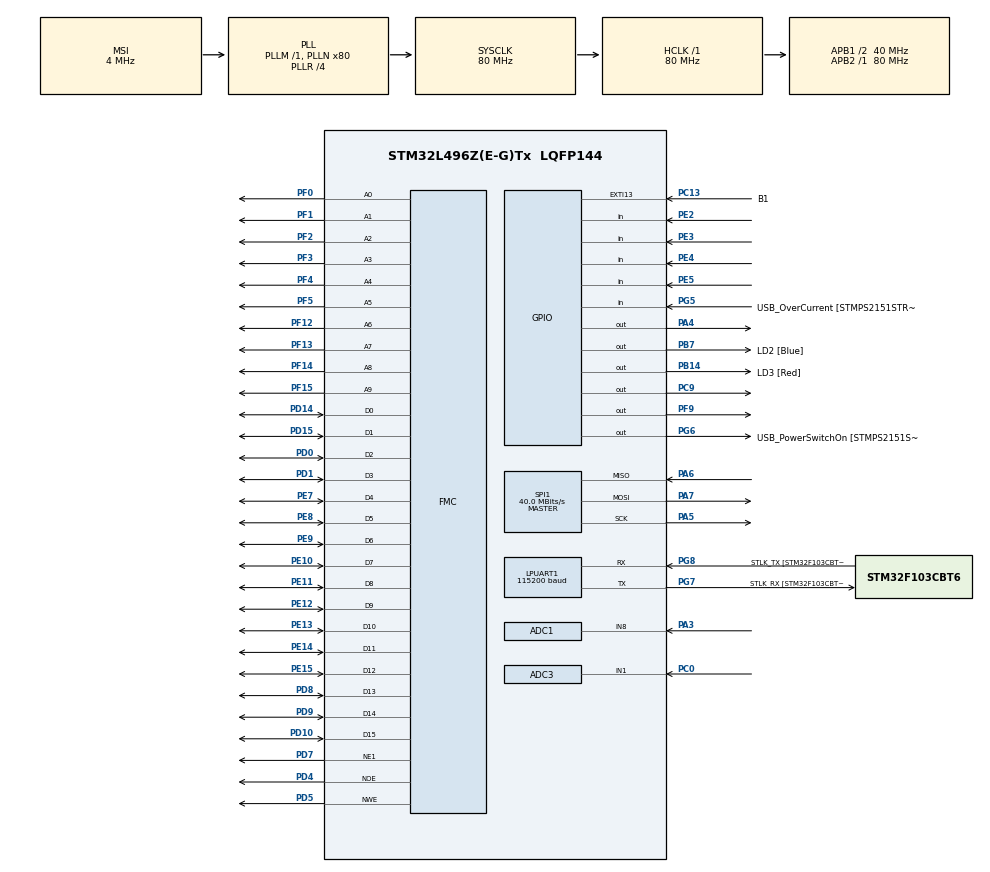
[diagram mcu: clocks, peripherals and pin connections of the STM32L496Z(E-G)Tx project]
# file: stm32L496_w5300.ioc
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ADC1.Channel-0\#ChannelRegularConversion=ADC_CHANNEL_8
ADC1.NbrOfConversionFlag=1
ADC1.OffsetNumber-0\#ChannelRegularConversion=ADC_OFFSET_NONE
ADC1.Rank-0\#ChannelRegularConversion=1
ADC1.Resolution=ADC_RESOLUTION_12B
ADC1.SamplingTime-0\#ChannelRegularConversion=ADC_SAMPLETIME_2CYCLES_5
ADC1.master=1
ADC3.Channel-0\#ChannelRegularConversion=ADC_CHANNEL_1
ADC3.NbrOfConversionFlag=1
ADC3.OffsetNumber-0\#ChannelRegularConversion=ADC_OFFSET_NONE
ADC3.Rank-0\#ChannelRegularConversion=1
ADC3.SamplingTime-0\#ChannelRegularConversion=ADC_SAMPLETIME_2CYCLES_5
FATFS._MAX_SS=4096
FMC.WriteOperation1=FMC_WRITE_OPERATION_ENABLE
LPUART1.BaudRate=115200
LPUART1.WordLength=UART_WORDLENGTH_8B
Mcu.Family=STM32L4
Mcu.Name=STM32L496Z(E-G)Tx
Mcu.Package=LQFP144
NVIC.LPUART1_IRQn=true\:0\:0\:false\:false\:true\:true\:true\:true
NVIC.PriorityGroup=NVIC_PRIORITYGROUP_4
PA13\ (JTMS/SWDIO).GPIO_Label=TMS
PA13\ (JTMS/SWDIO).Mode=Trace_Asynchronous_SW
PA13\ (JTMS/SWDIO).Signal=SYS_JTMS-SWDIO
PA14\ (JTCK/SWCLK).GPIO_Label=TCK
PA14\ (JTCK/SWCLK).Mode=Trace_Asynchronous_SW
PA14\ (JTCK/SWCLK).Signal=SYS_JTCK-SWCLK
PA3.Signal=ADCx_IN8
PA4.Signal=GPIO_Output
PA5.Mode=Full_Duplex_Master
PA5.Signal=SPI1_SCK
PA6.Mode=Full_Duplex_Master
PA6.Signal=SPI1_MISO
PA7.Mode=Full_Duplex_Master
PA7.Signal=SPI1_MOSI
PB14.GPIO_Label=LD3 [Red]
PB14.Signal=GPIO_Output
PB3\ (JTDO/TRACESWO).GPIO_Label=SWO
PB3\ (JTDO/TRACESWO).Mode=Trace_Asynchronous_SW
PB3\ (JTDO/TRACESWO).Signal=SYS_JTDO-SWO
PB7.GPIO_Label=LD2 [Blue]
PB7.Signal=GPIO_Output
PC0.Signal=ADCx_IN1
PC13.GPIO_Label=B1
PC13.Signal=GPXTI13
PC14-OSC32_IN\ (PC14).Mode=LSE-External-Oscillator
PC14-OSC32_IN\ (PC14).Signal=RCC_OSC32_IN
PC15-OSC32_OUT\ (PC15).Mode=LSE-External-Oscillator
PC15-OSC32_OUT\ (PC15).Signal=RCC_OSC32_OUT
PC9.Signal=GPIO_Output
PD0.Signal=FMC_D2_DA2
PD1.Signal=FMC_D3_DA3
PD10.Signal=FMC_D15_DA15
PD14.Signal=FMC_D0_DA0
PD15.Signal=FMC_D1_DA1
PD4.Signal=FMC_NOE
PD5.Signal=FMC_NWE
PD7.Mode=NorPsramChipSelect1_1
PD7.Signal=FMC_NE1
PD8.Signal=FMC_D13_DA13
PD9.Signal=FMC_D14_DA14
PE10.Signal=FMC_D7_DA7
PE11.Signal=FMC_D8_DA8
PE12.Signal=FMC_D9_DA9
PE13.Signal=FMC_D10_DA10
PE14.Signal=FMC_D11_DA11
PE15.Signal=FMC_D12_DA12
PE2.Signal=GPIO_Input
PE3.Signal=GPIO_Input
PE4.Signal=GPIO_Input
PE5.Signal=GPIO_Input
PE7.Signal=FMC_D4_DA4
PE8.Signal=FMC_D5_DA5
PE9.Signal=FMC_D6_DA6
PF0.Signal=FMC_A0
PF1.Signal=FMC_A1
PF12.Signal=FMC_A6
PF13.Signal=FMC_A7
PF14.Signal=FMC_A8
PF15.Signal=FMC_A9
PF2.Signal=FMC_A2
PF3.Signal=FMC_A3
PF4.Signal=FMC_A4
PF5.Signal=FMC_A5
PF9.Signal=GPIO_Output
PG5.GPIO_Label=USB_OverCurrent [STMPS2151STR_FAULT]
PG5.Signal=GPIO_Input
PG6.GPIO_Label=USB_PowerSwitchOn [STMPS2151STR_EN]
PG6.Signal=GPIO_Output
PG7.GPIO_Label=STLK_RX [STM32F103CBT6_PA3]
PG7.Mode=Asynchronous
PG7.Signal=LPUART1_TX
PG8.GPIO_Label=STLK_TX [STM32F103CBT6_PA2]
PG8.Mode=Asynchronous
PG8.Signal=LPUART1_RX
PH1-OSC_OUT\ (PH1).Signal=RCC_OSC_OUT
ProjectManager.HeapSize=0x200
ProjectManager.StackSize=0x400
ProjectManager.TargetToolchain=STM32CubeIDE
RCC.48MHZClocksFreq_Value=24000000
RCC.ADCFreq_Value=48000000
RCC.AHBFreq_Value=80000000
RCC.APB1CLKDivider=RCC_HCLK_DIV2
RCC.APB1Freq_Value=40000000
RCC.APB1TimFreq_Value=80000000
RCC.APB2Freq_Value=80000000
RCC.APB2TimFreq_Value=80000000
RCC.CortexFreq_Value=80000000
RCC.HCLKFreq_Value=80000000
RCC.HSE_VALUE=8000000
RCC.HSI48_VALUE=48000000
RCC.HSI_VALUE=16000000
RCC.MSI_VALUE=4000000
RCC.PLLMUL=RCC_PLL_MUL9
RCC.PLLN=80
RCC.PLLR=RCC_PLLR_DIV4
RCC.PLLSAI1N=24
RCC.PRESCALERUSB=RCC_USBCLKSOURCE_PLL_DIV1_5
RCC.SYSCLKFreq_VALUE=80000000
RCC.SYSCLKSource=RCC_SYSCLKSOURCE_PLLCLK
RCC.SYSCLKSourceVirtual=RCC_SYSCLKSOURCE_PLLCLK
RCC.USBFreq_Value=48000000
RCC.VCOOutputFreq_Value=320000000
SH.ADCx_IN1.0=ADC1_IN1
SH.ADCx_IN1.1=ADC3_IN1,IN1-Single-Ended
SH.ADCx_IN8.0=ADC1_IN8,IN8-Single-Ended
SH.FMC_A0.0=FMC_A0,10b-a1
SH.FMC_A1.0=FMC_A1,10b-a1
SH.FMC_A2.0=FMC_A2,10b-a1
SH.FMC_A3.0=FMC_A3,10b-a1
SH.FMC_A4.0=FMC_A4,10b-a1
SH.FMC_A5.0=FMC_A5,10b-a1
SH.FMC_A6.0=FMC_A6,10b-a1
SH.FMC_A7.0=FMC_A7,10b-a1
SH.FMC_A8.0=FMC_A8,10b-a1
SH.FMC_A9.0=FMC_A9,10b-a1
SH.FMC_D0_DA0.0=FMC_D0,16b-d1
SH.FMC_D10_DA10.0=FMC_D10,16b-d1
SH.FMC_D11_DA11.0=FMC_D11,16b-d1
SH.FMC_D12_DA12.0=FMC_D12,16b-d1
SH.FMC_D13_DA13.0=FMC_D13,16b-d1
SH.FMC_D14_DA14.0=FMC_D14,16b-d1
SH.FMC_D15_DA15.0=FMC_D15,16b-d1
SH.FMC_D1_DA1.0=FMC_D1,16b-d1
SH.FMC_D2_DA2.0=FMC_D2,16b-d1
SH.FMC_D3_DA3.0=FMC_D3,16b-d1
SH.FMC_D4_DA4.0=FMC_D4,16b-d1
SH.FMC_D5_DA5.0=FMC_D5,16b-d1
SH.FMC_D6_DA6.0=FMC_D6,16b-d1
SH.FMC_D7_DA7.0=FMC_D7,16b-d1
SH.FMC_D8_DA8.0=FMC_D8,16b-d1
SH.FMC_D9_DA9.0=FMC_D9,16b-d1
SH.FMC_NOE.0=FMC_NOE,Sram1
SH.FMC_NWE.0=FMC_NWE,Sram1
SPI1.CalculateBaudRate=40.0 MBits/s
SPI1.Direction=SPI_DIRECTION_2LINES
SPI1.Mode=SPI_MODE_MASTER
SPI1.VirtualType=VM_MASTER
VP_FATFS_VS_Generic.Mode=User_defined
VP_RTC_VS_RTC_Activate.Mode=RTC_Enabled
board=NUCLEO-L496ZG

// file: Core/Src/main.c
/* USER CODE BEGIN Header */
/**
  ******************************************************************************
  * @file           : main.c
  * @brief          : Main program body
  ******************************************************************************
  * @attention
  *
  * Copyright (c) 2023 STMicroelectronics.
  * All rights reserved.
  *
  * This software is licensed under terms that can be found in the LICENSE file
  * in the root directory of this software component.
  * If no LICENSE file comes with this software, it is provided AS-IS.
  *
  ******************************************************************************
  */
/* USER CODE END Header */
#include "main.h"
#include "fatfs.h"

/* USER CODE BEGIN Includes */
#include "stdio.h"
#include "socket.h"
#include "wizchip_conf.h"
#include "w5300.h"
#include "ftpd.h"
#include "fatfs_sd.h"
#include "skp_sdcard.h"

#include "ff.h"
#include "general_sdcard.h"

#include "httpServer.h"
#include "webpage.h"

/* USER CODE END Includes */

/* USER CODE BEGIN PTD */
#define DATA_BUF_SIZE   1024
#define _USE_W5300_OPTIMIZE				1

#define W5300_BANK_ADDR                 ((uint32_t)0x60000000)//((uint32_t)0x64000000)
#define _W5300_DATA(p)                  *(__IO uint16_t *)(W5300_BANK_ADDR + (p<<1))//(*(volatile unsigned short*) (W5300_BANK_ADDR + (p<<1)))

#define RESET_W5300_GPIO_Port			GPIOC
#define RESET_W5300_Pin					GPIO_PIN_9

#define true					1
#define false					0

#define SOCK_TCPS       0
#define SOCK_UDPS       1
#define PORT_TCPS		5000
#define PORT_UDPS       3000

#define HSPI_SDCARD		 	&hspi1
#define	SD_CS_PORT			GPIOA
#define SD_CS_PIN			GPIO_PIN_4

#define MAX_HTTPSOCK	6

/* USER CODE END PTD */

/* USER CODE BEGIN PM */
typedef enum
{
	NotUsed	= 0,
	Input	= 1,
	Output	= 2
} IO_Direction_Type;
// Data IO Status
typedef enum
{
	Off	= 0,
	On 	= 1
} IO_Status_Type;
/* USER CODE END PM */

ADC_HandleTypeDef hadc1;
ADC_HandleTypeDef hadc3;

UART_HandleTypeDef hlpuart1;

RTC_HandleTypeDef hrtc;

SPI_HandleTypeDef hspi1;

SRAM_HandleTypeDef hsram1;

/* USER CODE BEGIN PV */
//uint8_t gDATABUF[DATA_BUF_SIZE];
uint8_t gFTPBUF[_MAX_SS];
uint8_t wiznet_memsize[2][8] = {{8,8,8,8,8,8,8,8}, {8,8,8,8,8,8,8,8}};

#define ETH_MAX_BUF_SIZE		2048

uint8_t ethBuf0[ETH_MAX_BUF_SIZE];

wiz_NetInfo gWIZNETINFO = {
		.mac = {0x00, 0x08, 0xdc, 0x11, 0x22, 0x33},
		.ip = {192, 168, 15, 111},
		.sn = {255, 255, 255, 0},
		.gw = {192, 168, 15, 1},
		.dns = {8, 8, 8, 8},
		.dhcp = NETINFO_STATIC
};
uint32_t raw1;
  uint32_t raw2;

/* USER CODE END PV */

void SystemClock_Config(void);
void PeriphCommonClock_Config(void);
static void MX_GPIO_Init(void);
static void MX_LPUART1_UART_Init(void);
static void MX_FMC_Init(void);
static void MX_RTC_Init(void);
static void MX_SPI1_Init(void);
static void MX_ADC1_Init(void);
static void MX_ADC3_Init(void);
/* USER CODE BEGIN PFP */
uint8_t rxData[2];
void make_json_dio(uint8_t * buf, uint16_t * len, uint8_t pin);
void make_json_ain(uint8_t * buf, uint16_t * len, uint8_t pin);
void make_json_netinfo(uint8_t * buf, uint16_t * len);

int _write(int fd, char *str, int len)
{
	for(int i=0; i<len; i++)
	{
		HAL_UART_Transmit(&hlpuart1, (uint8_t *)&str[i], 1, 0xFFFF);
	}
	return len;
}

void HAL_UART_RxCpltCallback(UART_HandleTypeDef *huart) {

    /*
        This will be called once data is received successfully,
        via interrupts.
    */

     /*
       loop back received data
     */
     HAL_UART_Receive_IT(&hlpuart1, rxData, 1);
     HAL_UART_Transmit(&hlpuart1, rxData, 1, 1000);
}
void Reset_W5300()
{
	HAL_GPIO_WritePin(RESET_W5300_GPIO_Port, RESET_W5300_Pin, GPIO_PIN_RESET);
	HAL_Delay(50);
	HAL_GPIO_WritePin(RESET_W5300_GPIO_Port, RESET_W5300_Pin, GPIO_PIN_SET);
	HAL_Delay(500);
}

void W5300_write(uint32_t addr, iodata_t wd)
{
	_W5300_DATA(addr) = wd;
}

iodata_t W5300_read(uint32_t addr)
{
	return _W5300_DATA(addr);
}
void W5300CsEnable(void)
{

}
void W5300CsDisable(void)
{

}
void print_network_information(void)
{
    wizchip_getnetinfo(&gWIZNETINFO);
    printf("Mac address: %02x:%02x:%02x:%02x:%02x:%02x\n\r",gWIZNETINFO.mac[0],gWIZNETINFO.mac[1],gWIZNETINFO.mac[2],gWIZNETINFO.mac[3],gWIZNETINFO.mac[4],gWIZNETINFO.mac[5]);
    printf("IP address : %d.%d.%d.%d\n\r",gWIZNETINFO.ip[0],gWIZNETINFO.ip[1],gWIZNETINFO.ip[2],gWIZNETINFO.ip[3]);
    printf("SM Mask    : %d.%d.%d.%d\n\r",gWIZNETINFO.sn[0],gWIZNETINFO.sn[1],gWIZNETINFO.sn[2],gWIZNETINFO.sn[3]);
    printf("Gate way   : %d.%d.%d.%d\n\r",gWIZNETINFO.gw[0],gWIZNETINFO.gw[1],gWIZNETINFO.gw[2],gWIZNETINFO.gw[3]);
    printf("DNS Server : %d.%d.%d.%d\n\r",gWIZNETINFO.dns[0],gWIZNETINFO.dns[1],gWIZNETINFO.dns[2],gWIZNETINFO.dns[3]);
}

void make_json_dio(uint8_t * buf, uint16_t * len, uint8_t pin)
{
	//uint8_t pin_state 	= Chip_GPIO_GetPinState(LPC_GPIO, dio_ports[pin], dio_pins[pin]);
	//uint8_t pin_dir 	= Chip_GPIO_GetPinDIR(LPC_GPIO, dio_ports[pin], dio_pins[pin]);

	*len = sprintf((char *)buf, "DioCallback({\"dio_p\":\"%d\",\
											\"dio_s\":\"%d\",\
											\"dio_d\":\"%d\"\
											});",
											1,					// Digital io pin number
											2,				// Digital io status
											3					// Digital io directions
											);
}

void make_json_ain(uint8_t * buf, uint16_t * len, uint8_t pin)
{
	*len = sprintf((char *)buf, "AinCallback({\"ain_p\":\"%d\",\
											\"ain_v\":\"%d\"\
											});",
											0,					// ADC input pin number
											raw1//get_ADC_val(pin)		// ADC input value
											);
}

void make_json_netinfo(uint8_t * buf, uint16_t * len)
{
	wiz_NetInfo netinfo;
	ctlnetwork(CN_GET_NETINFO, (void*) &netinfo);

	// DHCP: 1 - Static, 2 - DHCP
	*len = sprintf((char *)buf, "NetinfoCallback({\"mac\":\"%.2X:%.2X:%.2X:%.2X:%.2X:%.2X\",\
											\"ip\":\"%d.%d.%d.%d\",\
											\"gw\":\"%d.%d.%d.%d\",\
											\"sn\":\"%d.%d.%d.%d\",\
											\"dns\":\"%d.%d.%d.%d\",\
											\"dhcp\":\"%d\"\
											});",
											netinfo.mac[0], netinfo.mac[1], netinfo.mac[2], netinfo.mac[3], netinfo.mac[4], netinfo.mac[5],
											netinfo.ip[0], netinfo.ip[1], netinfo.ip[2], netinfo.ip[3],
											netinfo.gw[0], netinfo.gw[1], netinfo.gw[2], netinfo.gw[3],
											netinfo.sn[0], netinfo.sn[1], netinfo.sn[2], netinfo.sn[3],
											netinfo.dns[0], netinfo.dns[1], netinfo.dns[2], netinfo.dns[3],
											netinfo.dhcp
											);
}

uint8_t predefined_get_cgi_processor(uint8_t * uri_name, uint8_t * buf, uint16_t * len)
{
	uint8_t ret = 1;	// ret = 1 means 'uri_name' matched
	uint8_t cgibuf[14] = {0, };
	int8_t cgi_dio = -1;
	int8_t cgi_ain = -1;

	uint8_t i;

	if(strcmp((const char *)uri_name, "todo.cgi") == 0)
	{
		// to do
		;//make_json_todo(buf, len);
	}
	else if(strcmp((const char *)uri_name, "get_netinfo.cgi") == 0)
	{
		make_json_netinfo(buf, len);
	}
	else
	{
		// get_dio0.cgi ~ get_dio15.cgi
#if 1
		//for(i = 0; i < DIOn; i++)
		for(i = 0; i < 16; i++)
		{
			memset(cgibuf, 0x00, 14);
			sprintf((char *)cgibuf, "get_dio%d.cgi", i);
			if(strcmp((const char *)uri_name, (const char *)cgibuf) == 0)
			{
				make_json_dio(buf, len, i);
				cgi_dio = i;
				break;
			}
		}
#endif
		if(cgi_dio < 0)
		{
			// get_ain0.cgi ~ get_ain5.cgi (A0 - A5), get_ain6.cgi for on-board potentiometer / Temp.Sensor
			for(i = 0; i < 7; i++)
			{
				memset(cgibuf, 0x00, 14);
				sprintf((char *)cgibuf, "get_ain%d.cgi", i);
				if(strcmp((const char *)uri_name, (const char *)cgibuf) == 0)
				{
					make_json_ain(buf, len, i);
					cgi_ain = i;
					break;
				}
			}
		}

		if((cgi_dio < 0) && (cgi_ain < 0)) ret = 0;
	}

	return ret;
}
#if 1
int8_t set_diodir(uint8_t * uri)
{
	uint8_t * param;
	uint8_t pin = 9, val = 0;
	GPIO_InitTypeDef GPIO_InitStruct = {0};

	if((param = get_http_param_value((char *)uri, "pin"))) // GPIO; D0 ~ D15
	{
		pin = (uint8_t)ATOI(param, 10);
		if(pin > 15) return -1;

		if((param = get_http_param_value((char *)uri, "val")))  // Direction; NotUsed/Input/Output
		{
			val = (uint8_t)ATOI(param, 10);
			if(val > Output) val = Output;
		}
	}

	if(val == Input)
	{
		GPIO_InitStruct.Pin = GPIO_PIN_9;
		GPIO_InitStruct.Mode = GPIO_MODE_INPUT;
		GPIO_InitStruct.Pull = GPIO_NOPULL;
		HAL_GPIO_Init(GPIOF, &GPIO_InitStruct);
	//Chip_GPIO_SetPinDIRInput(LPC_GPIO, dio_ports[pin], dio_pins[pin]);	// Input
	}
	else
	{
		GPIO_InitStruct.Pin = GPIO_PIN_9;
		GPIO_InitStruct.Mode = GPIO_MODE_OUTPUT_PP;
		GPIO_InitStruct.Pull = GPIO_NOPULL;
		HAL_GPIO_Init(GPIOF, &GPIO_InitStruct);
	//Chip_GPIO_SetPinDIROutput(LPC_GPIO, dio_ports[pin], dio_pins[pin]); // Output
	}

	return pin;
}

int8_t set_diostate(uint8_t * uri)
{
	uint8_t * param;
	uint8_t pin = 0, val = 0;
	GPIO_InitTypeDef GPIO_InitStruct = {0};

	if((param = get_http_param_value((char *)uri, "pin"))) // GPIO; D0 ~ D15
	{
		pin = (uint8_t)ATOI(param, 10);
		if(pin > 15) return -1;

		if((param = get_http_param_value((char *)uri, "val")))  // State; high(on)/low(off)
		{
			val = (uint8_t)ATOI(param, 10);
			if(val > On) val = On;
		}
		printf("[DEBUG]set_diostatue pin= %d, val = %d\r\n", pin, val);
		if(val == On)
		{
			if(pin == 8 )	// LED RED PB14
			{
				HAL_GPIO_WritePin(GPIOB, GPIO_PIN_14, GPIO_PIN_SET);
			}
			else if(pin == 10) //LED BLUE PB4
			{
				HAL_GPIO_WritePin(GPIOB, GPIO_PIN_4, GPIO_PIN_SET);
			}
			else if(pin == 0)
			{
				HAL_GPIO_WritePin(GPIOF, GPIO_PIN_9, GPIO_PIN_SET);
			}

		//Chip_GPIO_SetPinState(LPC_GPIO, dio_ports[pin], dio_pins[pin], true); 	// High
		}
		else
		{
			if(pin == 8 )	// LED RED PB14
			{
				HAL_GPIO_WritePin(GPIOB, GPIO_PIN_14, GPIO_PIN_RESET);
			}
			else if(pin == 10) //LED BLUE PB4
			{
				HAL_GPIO_WritePin(GPIOB, GPIO_PIN_4, GPIO_PIN_RESET);
			}
			else if(pin == 0)
			{
				HAL_GPIO_WritePin(GPIOF, GPIO_PIN_9, GPIO_PIN_RESET);
			}
		//Chip_GPIO_SetPinState(LPC_GPIO, dio_ports[pin], dio_pins[pin], false);	// Low
		}
	}

	return pin;
}
#endif
uint8_t predefined_set_cgi_processor(uint8_t * uri_name, uint8_t * uri, uint8_t * buf, uint16_t * len)
{
	uint8_t ret = 1;	// ret = '1' means 'uri_name' matched
	uint8_t val = 0;

	if(strcmp((const char *)uri_name, "todo.cgi") == 0)
	{
		// to do
		;//val = todo(uri);
		//*len = sprintf((char *)buf, "%d", val);
	}
	// Digital I/O; dio_s, dio_d
	else if(strcmp((const char *)uri_name, "set_diodir.cgi") == 0)
	{
		//val = set_diodir(uri);
		val = 0;
		*len = sprintf((char *)buf, "%d", val);
	}
	else if(strcmp((const char *)uri_name, "set_diostate.cgi") == 0)
	{
		//val = set_diostate(uri);
		val = 0;
		*len = sprintf((char *)buf, "%d", val);
	}
	else
	{
		ret = 0;
	}

	return ret;
}

void _InitW5300(void)
{
	unsigned int tmpaddr[4];

	Reset_W5300();
	reg_wizchip_bus_cbfunc(W5300_read, W5300_write);
	reg_wizchip_cs_cbfunc(W5300CsEnable, W5300CsDisable);
	printf("getMR() = %04X\r\n", getMR());

	if (ctlwizchip(CW_INIT_WIZCHIP, (void*)wiznet_memsize) == -1)
	{
		printf("W5300 memory initialization failed\r\n");
	}

	ctlnetwork(CN_SET_NETINFO, (void *)&gWIZNETINFO);
	print_network_information();
}

int test_SD_Card(void)
{
  FATFS fs;
	FILINFO finfo;
  mountSD(&fs);

  printf("----------------------------------------------\r\n");
  printf("	 SPI SD Card INFO File Read/Write Test \r\n");
  printf("----------------------------------------------\r\n");

  char filename[] = "test.txt";
  char testbuffer[] = "test 1234567890 -> result\r\ntest";
  char *readbuffer = NULL;
  int result = existFile(filename, &finfo);
  if(result != FR_OK){
		printf("Do not Exist[%s][%d].\r\n", filename, result);
		if(writeInfoToSD(filename, testbuffer) == false)
    {
      printf(" file Write Fail \r\n");
      return -1;
    }

    if(readInfoFromSD(filename, &readbuffer) == false)
    {
      printf(" file Read Fail \r\n");
      return -2;
    }
    if(readbuffer == NULL)
      printf("read Error \r\n");
    else
    {
      printf("read : %s\r\n", readbuffer);
      free(readbuffer);
    }
	}
	else{
		printf("Do Exist[%s].\r\n", filename);
		if(readInfoFromSD(filename, &readbuffer) == false)
    {
      printf(" file Read Fail \r\n");
      return -2;
    }
    if(readbuffer == NULL)
      printf("read Error \r\n");
    else
    {
      printf("read : %s\r\n", readbuffer);
      free(readbuffer);
    }

	}
  return 0;
}
int test_SD_Card1(void)
{
  FATFS fs;
  FATFS *pfs;
  FIL fil;
  FRESULT fres;
  DWORD fre_clust;
  uint32_t totalSpace, freeSpace;
  char buffer[100];
  HAL_Delay(500);
  /* Mount SD Card */
	if(f_mount(&fs, "", 0) != FR_OK)
		printf("ERROR f:%s, L:%d\r\n", __FILE__, __LINE__);

	/* Open file to write */
	if(f_open(&fil, "first.txt", FA_OPEN_ALWAYS | FA_READ | FA_WRITE) != FR_OK)
		printf("ERROR f:%s, L:%d\r\n", __FILE__, __LINE__);

	/* Check freeSpace space */
	if(f_getfree("", &fre_clust, &pfs) != FR_OK)
		printf("ERROR f:%s, L:%d\r\n", __FILE__, __LINE__);

	totalSpace = (uint32_t)((pfs->n_fatent - 2) * pfs->csize * 0.5);
	freeSpace = (uint32_t)(fre_clust * pfs->csize * 0.5);

	/* free space is less than 1kb */
	if(freeSpace < 1)
		printf("ERROR f:%s, L:%d\r\n", __FILE__, __LINE__);

	/* Writing text */
	f_puts("STM32 SD Card I/O Example via SPI\n", &fil);
	f_puts("Save the world!!!", &fil);

	/* Close file */
	if(f_close(&fil) != FR_OK)
		printf("ERROR f:%s, L:%d\r\n", __FILE__, __LINE__);

	/* Open file to read */
	if(f_open(&fil, "first.txt", FA_READ) != FR_OK)
		printf("ERROR f:%s, L:%d\r\n", __FILE__, __LINE__);

	while(f_gets(buffer, sizeof(buffer), &fil))
	{
		/* SWV output */
		printf("%s", buffer);
		fflush(stdout);
	}

	/* Close file */
	if(f_close(&fil) != FR_OK)
		printf("ERROR f:%s, L:%d\r\n", __FILE__, __LINE__);

	/* Unmount SDCARD */
	if(f_mount(NULL, "", 1) != FR_OK)
		printf("ERROR f:%s, L:%d\r\n", __FILE__, __LINE__);
}
void systic_timmer(void)
{
	httpServer_time_handler();
}
/* USER CODE END PFP */

int main(void)
{
  /* USER CODE BEGIN 1 */
  char ret = 0;

  uint8_t RX_BUF[DATA_BUF_SIZE];
  uint8_t TX_BUF[DATA_BUF_SIZE];
  int i=0;
uint8_t socknumlist[] = {2, 3, 4, 5, 6, 7};
  /* USER CODE END 1 */

  /* MCU Configuration--------------------------------------------------------*/

  /* Reset of all peripherals, Initializes the Flash interface and the Systick. */
  HAL_Init();

  /* Configure the system clock */
  SystemClock_Config();

/* Configure the peripherals common clocks */
  PeriphCommonClock_Config();

  /* Initialize all configured peripherals */
  MX_GPIO_Init();
  MX_LPUART1_UART_Init();
  MX_FMC_Init();
  MX_RTC_Init();
  MX_SPI1_Init();
  MX_FATFS_Init();
  MX_ADC1_Init();
  MX_ADC3_Init();
  /* USER CODE BEGIN 2 */
  //printf("Hello! W5300 BUS loopback System \r\n");
  HAL_UART_Receive_IT(&hlpuart1, rxData, 1);

  _InitW5300();
  /* USER CODE END 2 */

  /* Infinite loop */
  /* USER CODE BEGIN WHILE */
  printf("=======================================\r\n");
  printf(">> W5300 based FTP Server Example\r\n");
  printf("=======================================\r\n");
  ftpd_init(gWIZNETINFO.ip);
  //testFunc();
  //test_SD_Card();
  //test_SD_Card1();
  httpServer_init(TX_BUF, RX_BUF, MAX_HTTPSOCK, socknumlist);		// Tx/Rx buffers (1kB) / The number of W5500 chip H/W sockets in use
	reg_httpServer_cbfunc(NVIC_SystemReset, NULL); 					// Callback: NXP MCU Reset

	{
		/* Web content registration (web content in webpage.h, Example web pages) */

		// Index page and netinfo / base64 image demo
		reg_httpServer_webContent((uint8_t *)"index.html", (uint8_t *)index_page);				// index.html 		: Main page example
		reg_httpServer_webContent((uint8_t *)"netinfo.html", (uint8_t *)netinfo_page);			// netinfo.html 	: Network information example page
		reg_httpServer_webContent((uint8_t *)"netinfo.js", (uint8_t *)wiz550web_netinfo_js);	// netinfo.js 		: JavaScript for Read Network configuration 	(+ ajax.js)
		reg_httpServer_webContent((uint8_t *)"img.html", (uint8_t *)img_page);					// img.html 		: Base64 Image data example page

		// Example #1
		reg_httpServer_webContent((uint8_t *)"dio.html", (uint8_t *)dio_page);					// dio.html 		: Digital I/O control example page
		reg_httpServer_webContent((uint8_t *)"dio.js", (uint8_t *)wiz550web_dio_js);			// dio.js 			: JavaScript for digital I/O control 	(+ ajax.js)

		// Example #2
		reg_httpServer_webContent((uint8_t *)"ain.html", (uint8_t *)ain_page);					// ain.html 		: Analog input monitor example page
		reg_httpServer_webContent((uint8_t *)"ain.js", (uint8_t *)wiz550web_ain_js);			// ain.js 			: JavaScript for Analog input monitor	(+ ajax.js)

		// Example #3
		reg_httpServer_webContent((uint8_t *)"ain_gauge.html", (uint8_t *)ain_gauge_page);		// ain_gauge.html 	: Analog input monitor example page; using Google Gauge chart
		reg_httpServer_webContent((uint8_t *)"ain_gauge.js", (uint8_t *)ain_gauge_js);			// ain_gauge.js 	: JavaScript for Google Gauge chart		(+ ajax.js)

		// AJAX JavaScript functions
		reg_httpServer_webContent((uint8_t *)"ajax.js", (uint8_t *)wiz550web_ajax_js);			// ajax.js			: JavaScript for AJAX request transfer

  #ifdef _MAIN_DEBUG_
  		display_reg_webContent_list();
  #endif
  	}
  while (1)
  {
	 //loopback_tcps(0, ethBuf0, 3000);
	if((ret = ftpd_run(gFTPBUF)) < 0)
	{
		porintf(" FTP server Error %d \r\n", ret);
	}
	HAL_ADC_Start(&hadc1);
	HAL_ADC_Start(&hadc3);
	HAL_ADC_PollForConversion(&hadc1, HAL_MAX_DELAY);
	HAL_ADC_PollForConversion(&hadc3, HAL_MAX_DELAY);
	raw1 = HAL_ADC_GetValue(&hadc1);
	raw2 = HAL_ADC_GetValue(&hadc3);
	for(i = 0; i < MAX_HTTPSOCK; i++)	httpServer_run(i); 	// HTTP Server handler
	//printf("adc1 = %d, %d\r\n", raw1, raw2);
    /* USER CODE END WHILE */

  }
}

void SystemClock_Config(void)
{
  RCC_OscInitTypeDef RCC_OscInitStruct = {0};
  RCC_ClkInitTypeDef RCC_ClkInitStruct = {0};

  /** Configure the main internal regulator output voltage
  */
  if (HAL_PWREx_ControlVoltageScaling(PWR_REGULATOR_VOLTAGE_SCALE1) != HAL_OK)
  {
    Error_Handler();
  }

  /** Initializes the RCC Oscillators according to the specified parameters
  * in the RCC_OscInitTypeDef structure.
  */
  RCC_OscInitStruct.OscillatorType = RCC_OSCILLATORTYPE_LSI|RCC_OSCILLATORTYPE_MSI;
  RCC_OscInitStruct.LSIState = RCC_LSI_ON;
  RCC_OscInitStruct.MSIState = RCC_MSI_ON;
  RCC_OscInitStruct.MSICalibrationValue = 0;
  RCC_OscInitStruct.MSIClockRange = RCC_MSIRANGE_6;
  RCC_OscInitStruct.PLL.PLLState = RCC_PLL_ON;
  RCC_OscInitStruct.PLL.PLLSource = RCC_PLLSOURCE_MSI;
  RCC_OscInitStruct.PLL.PLLM = 1;
  RCC_OscInitStruct.PLL.PLLN = 80;
  RCC_OscInitStruct.PLL.PLLP = RCC_PLLP_DIV2;
  RCC_OscInitStruct.PLL.PLLQ = RCC_PLLQ_DIV2;
  RCC_OscInitStruct.PLL.PLLR = RCC_PLLR_DIV4;
  if (HAL_RCC_OscConfig(&RCC_OscInitStruct) != HAL_OK)
  {
    Error_Handler();
  }

  /** Initializes the CPU, AHB and APB buses clocks
  */
  RCC_ClkInitStruct.ClockType = RCC_CLOCKTYPE_HCLK|RCC_CLOCKTYPE_SYSCLK
                              |RCC_CLOCKTYPE_PCLK1|RCC_CLOCKTYPE_PCLK2;
  RCC_ClkInitStruct.SYSCLKSource = RCC_SYSCLKSOURCE_PLLCLK;
  RCC_ClkInitStruct.AHBCLKDivider = RCC_SYSCLK_DIV1;
  RCC_ClkInitStruct.APB1CLKDivider = RCC_HCLK_DIV2;
  RCC_ClkInitStruct.APB2CLKDivider = RCC_HCLK_DIV1;

  if (HAL_RCC_ClockConfig(&RCC_ClkInitStruct, FLASH_LATENCY_4) != HAL_OK)
  {
    Error_Handler();
  }
}

void PeriphCommonClock_Config(void)
{
  RCC_PeriphCLKInitTypeDef PeriphClkInit = {0};

  /** Initializes the peripherals clock
  */
  PeriphClkInit.PeriphClockSelection = RCC_PERIPHCLK_ADC;
  PeriphClkInit.AdcClockSelection = RCC_ADCCLKSOURCE_PLLSAI1;
  PeriphClkInit.PLLSAI1.PLLSAI1Source = RCC_PLLSOURCE_MSI;
  PeriphClkInit.PLLSAI1.PLLSAI1M = 1;
  PeriphClkInit.PLLSAI1.PLLSAI1N = 24;
  PeriphClkInit.PLLSAI1.PLLSAI1P = RCC_PLLP_DIV2;
  PeriphClkInit.PLLSAI1.PLLSAI1Q = RCC_PLLQ_DIV2;
  PeriphClkInit.PLLSAI1.PLLSAI1R = RCC_PLLR_DIV2;
  PeriphClkInit.PLLSAI1.PLLSAI1ClockOut = RCC_PLLSAI1_ADC1CLK;
  if (HAL_RCCEx_PeriphCLKConfig(&PeriphClkInit) != HAL_OK)
  {
    Error_Handler();
  }
}

static void MX_ADC1_Init(void)
{

  ADC_MultiModeTypeDef multimode = {0};
  ADC_ChannelConfTypeDef sConfig = {0};

  /** Common config
  */
  hadc1.Instance = ADC1;
  hadc1.Init.ClockPrescaler = ADC_CLOCK_ASYNC_DIV1;
  hadc1.Init.Resolution = ADC_RESOLUTION_12B;
  hadc1.Init.DataAlign = ADC_DATAALIGN_RIGHT;
  hadc1.Init.ScanConvMode = ADC_SCAN_DISABLE;
  hadc1.Init.EOCSelection = ADC_EOC_SINGLE_CONV;
  hadc1.Init.LowPowerAutoWait = DISABLE;
  hadc1.Init.ContinuousConvMode = DISABLE;
  hadc1.Init.NbrOfConversion = 1;
  hadc1.Init.DiscontinuousConvMode = DISABLE;
  hadc1.Init.ExternalTrigConv = ADC_SOFTWARE_START;
  hadc1.Init.ExternalTrigConvEdge = ADC_EXTERNALTRIGCONVEDGE_NONE;
  hadc1.Init.DMAContinuousRequests = DISABLE;
  hadc1.Init.Overrun = ADC_OVR_DATA_PRESERVED;
  hadc1.Init.OversamplingMode = DISABLE;
  if (HAL_ADC_Init(&hadc1) != HAL_OK)
  {
    Error_Handler();
  }

  /** Configure the ADC multi-mode
  */
  multimode.Mode = ADC_MODE_INDEPENDENT;
  if (HAL_ADCEx_MultiModeConfigChannel(&hadc1, &multimode) != HAL_OK)
  {
    Error_Handler();
  }

  /** Configure Regular Channel
  */
  sConfig.Channel = ADC_CHANNEL_8;
  sConfig.Rank = ADC_REGULAR_RANK_1;
  sConfig.SamplingTime = ADC_SAMPLETIME_2CYCLES_5;
  sConfig.SingleDiff = ADC_SINGLE_ENDED;
  sConfig.OffsetNumber = ADC_OFFSET_NONE;
  sConfig.Offset = 0;
  if (HAL_ADC_ConfigChannel(&hadc1, &sConfig) != HAL_OK)
  {
    Error_Handler();
  }

}

static void MX_ADC3_Init(void)
{

  ADC_ChannelConfTypeDef sConfig = {0};

  /** Common config
  */
  hadc3.Instance = ADC3;
  hadc3.Init.ClockPrescaler = ADC_CLOCK_ASYNC_DIV1;
  hadc3.Init.Resolution = ADC_RESOLUTION_12B;
  hadc3.Init.DataAlign = ADC_DATAALIGN_RIGHT;
  hadc3.Init.ScanConvMode = ADC_SCAN_DISABLE;
  hadc3.Init.EOCSelection = ADC_EOC_SINGLE_CONV;
  hadc3.Init.LowPowerAutoWait = DISABLE;
  hadc3.Init.ContinuousConvMode = DISABLE;
  hadc3.Init.NbrOfConversion = 1;
  hadc3.Init.DiscontinuousConvMode = DISABLE;
  hadc3.Init.ExternalTrigConv = ADC_SOFTWARE_START;
  hadc3.Init.ExternalTrigConvEdge = ADC_EXTERNALTRIGCONVEDGE_NONE;
  hadc3.Init.DMAContinuousRequests = DISABLE;
  hadc3.Init.Overrun = ADC_OVR_DATA_PRESERVED;
  hadc3.Init.OversamplingMode = DISABLE;
  if (HAL_ADC_Init(&hadc3) != HAL_OK)
  {
    Error_Handler();
  }

  /** Configure Regular Channel
  */
  sConfig.Channel = ADC_CHANNEL_1;
  sConfig.Rank = ADC_REGULAR_RANK_1;
  sConfig.SamplingTime = ADC_SAMPLETIME_2CYCLES_5;
  sConfig.SingleDiff = ADC_SINGLE_ENDED;
  sConfig.OffsetNumber = ADC_OFFSET_NONE;
  sConfig.Offset = 0;
  if (HAL_ADC_ConfigChannel(&hadc3, &sConfig) != HAL_OK)
  {
    Error_Handler();
  }

}

static void MX_LPUART1_UART_Init(void)
{

  hlpuart1.Instance = LPUART1;
  hlpuart1.Init.BaudRate = 115200;
  hlpuart1.Init.WordLength = UART_WORDLENGTH_8B;
  hlpuart1.Init.StopBits = UART_STOPBITS_1;
  hlpuart1.Init.Parity = UART_PARITY_NONE;
  hlpuart1.Init.Mode = UART_MODE_TX_RX;
  hlpuart1.Init.HwFlowCtl = UART_HWCONTROL_NONE;
  hlpuart1.Init.OneBitSampling = UART_ONE_BIT_SAMPLE_DISABLE;
  hlpuart1.AdvancedInit.AdvFeatureInit = UART_ADVFEATURE_NO_INIT;
  if (HAL_UART_Init(&hlpuart1) != HAL_OK)
  {
    Error_Handler();
  }

}

static void MX_RTC_Init(void)
{

  /** Initialize RTC Only
  */
  hrtc.Instance = RTC;
  hrtc.Init.HourFormat = RTC_HOURFORMAT_24;
  hrtc.Init.AsynchPrediv = 127;
  hrtc.Init.SynchPrediv = 255;
  hrtc.Init.OutPut = RTC_OUTPUT_DISABLE;
  hrtc.Init.OutPutRemap = RTC_OUTPUT_REMAP_NONE;
  hrtc.Init.OutPutPolarity = RTC_OUTPUT_POLARITY_HIGH;
  hrtc.Init.OutPutType = RTC_OUTPUT_TYPE_OPENDRAIN;
  if (HAL_RTC_Init(&hrtc) != HAL_OK)
  {
    Error_Handler();
  }

}

static void MX_SPI1_Init(void)
{

  /* SPI1 parameter configuration*/
  hspi1.Instance = SPI1;
  hspi1.Init.Mode = SPI_MODE_MASTER;
  hspi1.Init.Direction = SPI_DIRECTION_2LINES;
  hspi1.Init.DataSize = SPI_DATASIZE_4BIT;
  hspi1.Init.CLKPolarity = SPI_POLARITY_LOW;
  hspi1.Init.CLKPhase = SPI_PHASE_1EDGE;
  hspi1.Init.NSS = SPI_NSS_SOFT;
  hspi1.Init.BaudRatePrescaler = SPI_BAUDRATEPRESCALER_2;
  hspi1.Init.FirstBit = SPI_FIRSTBIT_MSB;
  hspi1.Init.TIMode = SPI_TIMODE_DISABLE;
  hspi1.Init.CRCCalculation = SPI_CRCCALCULATION_DISABLE;
  hspi1.Init.CRCPolynomial = 7;
  hspi1.Init.CRCLength = SPI_CRC_LENGTH_DATASIZE;
  hspi1.Init.NSSPMode = SPI_NSS_PULSE_ENABLE;
  if (HAL_SPI_Init(&hspi1) != HAL_OK)
  {
    Error_Handler();
  }

}

/* FMC initialization function */
static void MX_FMC_Init(void)
{

  FMC_NORSRAM_TimingTypeDef Timing = {0};

  /** Perform the SRAM1 memory initialization sequence
  */
  hsram1.Instance = FMC_NORSRAM_DEVICE;
  hsram1.Extended = FMC_NORSRAM_EXTENDED_DEVICE;
  /* hsram1.Init */
  hsram1.Init.NSBank = FMC_NORSRAM_BANK1;
  hsram1.Init.DataAddressMux = FMC_DATA_ADDRESS_MUX_DISABLE;
  hsram1.Init.MemoryType = FMC_MEMORY_TYPE_SRAM;
  hsram1.Init.MemoryDataWidth = FMC_NORSRAM_MEM_BUS_WIDTH_16;
  hsram1.Init.BurstAccessMode = FMC_BURST_ACCESS_MODE_DISABLE;
  hsram1.Init.WaitSignalPolarity = FMC_WAIT_SIGNAL_POLARITY_LOW;
  hsram1.Init.WaitSignalActive = FMC_WAIT_TIMING_BEFORE_WS;
  hsram1.Init.WriteOperation = FMC_WRITE_OPERATION_ENABLE;
  hsram1.Init.WaitSignal = FMC_WAIT_SIGNAL_DISABLE;
  hsram1.Init.ExtendedMode = FMC_EXTENDED_MODE_DISABLE;
  hsram1.Init.AsynchronousWait = FMC_ASYNCHRONOUS_WAIT_DISABLE;
  hsram1.Init.WriteBurst = FMC_WRITE_BURST_DISABLE;
  hsram1.Init.ContinuousClock = FMC_CONTINUOUS_CLOCK_SYNC_ONLY;
  hsram1.Init.WriteFifo = FMC_WRITE_FIFO_ENABLE;
  hsram1.Init.PageSize = FMC_PAGE_SIZE_NONE;
  /* Timing */
  Timing.AddressSetupTime = 15;
  Timing.AddressHoldTime = 15;
  Timing.DataSetupTime = 255;
  Timing.BusTurnAroundDuration = 15;
  Timing.CLKDivision = 16;
  Timing.DataLatency = 17;
  Timing.AccessMode = FMC_ACCESS_MODE_A;
  /* ExtTiming */

  if (HAL_SRAM_Init(&hsram1, &Timing, NULL) != HAL_OK)
  {
    Error_Handler( );
  }

}

static void MX_GPIO_Init(void)
{
  GPIO_InitTypeDef GPIO_InitStruct = {0};

  /* GPIO Ports Clock Enable */
  __HAL_RCC_GPIOE_CLK_ENABLE();
  __HAL_RCC_GPIOC_CLK_ENABLE();
  __HAL_RCC_GPIOF_CLK_ENABLE();
  __HAL_RCC_GPIOH_CLK_ENABLE();
  __HAL_RCC_GPIOA_CLK_ENABLE();
  __HAL_RCC_GPIOB_CLK_ENABLE();
  __HAL_RCC_GPIOD_CLK_ENABLE();
  __HAL_RCC_GPIOG_CLK_ENABLE();
  HAL_PWREx_EnableVddIO2();

  /*Configure GPIO pin Output Level */
  HAL_GPIO_WritePin(GPIOF, GPIO_PIN_9, GPIO_PIN_RESET);

  /*Configure GPIO pin Output Level */
  HAL_GPIO_WritePin(GPIOA, GPIO_PIN_4, GPIO_PIN_RESET);

  /*Configure GPIO pin Output Level */
  HAL_GPIO_WritePin(GPIOB, LD3_Pin|LD2_Pin, GPIO_PIN_RESET);

  /*Configure GPIO pin Output Level */
  HAL_GPIO_WritePin(USB_PowerSwitchOn_GPIO_Port, USB_PowerSwitchOn_Pin, GPIO_PIN_RESET);

  /*Configure GPIO pin Output Level */
  HAL_GPIO_WritePin(GPIOC, GPIO_PIN_9, GPIO_PIN_RESET);

  /*Configure GPIO pins : PE2 PE3 PE4 PE5 */
  GPIO_InitStruct.Pin = GPIO_PIN_2|GPIO_PIN_3|GPIO_PIN_4|GPIO_PIN_5;
  GPIO_InitStruct.Mode = GPIO_MODE_INPUT;
  GPIO_InitStruct.Pull = GPIO_NOPULL;
  HAL_GPIO_Init(GPIOE, &GPIO_InitStruct);

  /*Configure GPIO pin : B1_Pin */
  GPIO_InitStruct.Pin = B1_Pin;
  GPIO_InitStruct.Mode = GPIO_MODE_IT_RISING;
  GPIO_InitStruct.Pull = GPIO_NOPULL;
  HAL_GPIO_Init(B1_GPIO_Port, &GPIO_InitStruct);

  /*Configure GPIO pin : PF9 */
  GPIO_InitStruct.Pin = GPIO_PIN_9;
  GPIO_InitStruct.Mode = GPIO_MODE_OUTPUT_PP;
  GPIO_InitStruct.Pull = GPIO_NOPULL;
  GPIO_InitStruct.Speed = GPIO_SPEED_FREQ_LOW;
  HAL_GPIO_Init(GPIOF, &GPIO_InitStruct);

  /*Configure GPIO pin : PA4 */
  GPIO_InitStruct.Pin = GPIO_PIN_4;
  GPIO_InitStruct.Mode = GPIO_MODE_OUTPUT_PP;
  GPIO_InitStruct.Pull = GPIO_NOPULL;
  GPIO_InitStruct.Speed = GPIO_SPEED_FREQ_LOW;
  HAL_GPIO_Init(GPIOA, &GPIO_InitStruct);

  /*Configure GPIO pins : LD3_Pin LD2_Pin */
  GPIO_InitStruct.Pin = LD3_Pin|LD2_Pin;
  GPIO_InitStruct.Mode = GPIO_MODE_OUTPUT_PP;
  GPIO_InitStruct.Pull = GPIO_NOPULL;
  GPIO_InitStruct.Speed = GPIO_SPEED_FREQ_LOW;
  HAL_GPIO_Init(GPIOB, &GPIO_InitStruct);

  /*Configure GPIO pin : USB_OverCurrent_Pin */
  GPIO_InitStruct.Pin = USB_OverCurrent_Pin;
  GPIO_InitStruct.Mode = GPIO_MODE_INPUT;
  GPIO_InitStruct.Pull = GPIO_NOPULL;
  HAL_GPIO_Init(USB_OverCurrent_GPIO_Port, &GPIO_InitStruct);

  /*Configure GPIO pin : USB_PowerSwitchOn_Pin */
  GPIO_InitStruct.Pin = USB_PowerSwitchOn_Pin;
  GPIO_InitStruct.Mode = GPIO_MODE_OUTPUT_PP;
  GPIO_InitStruct.Pull = GPIO_NOPULL;
  GPIO_InitStruct.Speed = GPIO_SPEED_FREQ_LOW;
  HAL_GPIO_Init(USB_PowerSwitchOn_GPIO_Port, &GPIO_InitStruct);

  /*Configure GPIO pin : PC9 */
  GPIO_InitStruct.Pin = GPIO_PIN_9;
  GPIO_InitStruct.Mode = GPIO_MODE_OUTPUT_PP;
  GPIO_InitStruct.Pull = GPIO_NOPULL;
  GPIO_InitStruct.Speed = GPIO_SPEED_FREQ_LOW;
  HAL_GPIO_Init(GPIOC, &GPIO_InitStruct);

}

/* USER CODE BEGIN 4 */

void SELECT(void)
{
	HAL_GPIO_WritePin(SD_CS_PORT, SD_CS_PIN, GPIO_PIN_RESET);
	HAL_Delay(1);
}

/* slave deselect */
void DESELECT(void)
{
	HAL_GPIO_WritePin(SD_CS_PORT, SD_CS_PIN, GPIO_PIN_SET);
	HAL_Delay(1);
}

/* SPI transmit a byte */
void SPI_TxByte(uint8_t data)
{
	//uint8_t dummy = 0xff;
	while(!__HAL_SPI_GET_FLAG(HSPI_SDCARD, SPI_FLAG_TXE));
	HAL_SPI_Transmit(HSPI_SDCARD, &data, 1, SPI_TIMEOUT);
	//HAL_SPI_TransmitReceive(HSPI_SDCARD, &data, &dummy, 1, SPI_TIMEOUT);
}

/* SPI transmit buffer */
void SPI_TxBuffer(uint8_t *buffer, uint16_t len)
{
	//uint8_t dummy = 0xff;
	while(!__HAL_SPI_GET_FLAG(HSPI_SDCARD, SPI_FLAG_TXE));
	HAL_SPI_Transmit(HSPI_SDCARD, buffer, len, SPI_TIMEOUT);
	//HAL_SPI_TransmitReceive(HSPI_SDCARD, buffer, &dummy, len, SPI_TIMEOUT);
}

/* SPI receive a byte */
uint8_t SPI_RxByte(void)
{
	uint8_t dummy= 0xFF, data = 0x00;
	//dummy = 0xFF;

	while(!__HAL_SPI_GET_FLAG(HSPI_SDCARD, SPI_FLAG_TXE));
	//while(!__HAL_SPI_GET_FLAG(HSPI_SDCARD, SPI_FLAG_RXNE));
	HAL_SPI_TransmitReceive(HSPI_SDCARD, &dummy, &data, 1, SPI_TIMEOUT);

	return data;
}

/* SPI receive a byte via pointer */
void SPI_RxBytePtr(uint8_t *buff)
{
	*buff = SPI_RxByte();
}
/* USER CODE END 4 */

void Error_Handler(void)
{
  __disable_irq();
  while (1)
  {
  }
}
